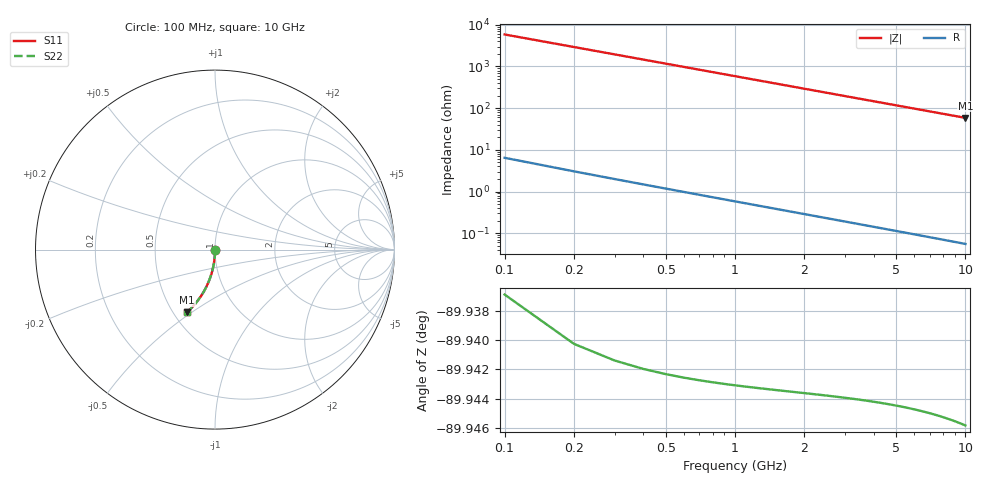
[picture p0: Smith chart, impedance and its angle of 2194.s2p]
# Hz S RI R 50.00
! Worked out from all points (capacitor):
!   100 points, 100 MHz to 10 GHz, reference 50 ohm
!   read as one part in shunt: C = 272 fF near 100 MHz
!   lowest |Z| = 58.6 ohm at 10 GHz (marker M1)
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1e8  8.79e-05 -0.00413  0.9999 -0.0044  0.9999 -0.0044  8.79e-05 -0.00413
2e8  2.98e-05 -0.00827  0.9998 -0.00881  0.9998 -0.00881  2.98e-05 -0.00827
3e8  -6.49e-05 -0.0124  0.9997 -0.0132  0.9997 -0.0132  -6.49e-05 -0.0124
4e8  -0.000196 -0.0165  0.9996 -0.0176  0.9996 -0.0176  -0.000196 -0.0165
5e8  -0.000364 -0.0207  0.9994 -0.022  0.9994 -0.022  -0.000364 -0.0207
6e8  -0.000568 -0.0248  0.9992 -0.0264  0.9992 -0.0264  -0.000568 -0.0248
7e8  -0.000808 -0.0289  0.999 -0.0308  0.999 -0.0308  -0.000808 -0.0289
8e8  -0.00108 -0.033  0.9987 -0.0352  0.9987 -0.0352  -0.00108 -0.033
9e8  -0.0014 -0.0372  0.9984 -0.0396  0.9984 -0.0396  -0.0014 -0.0372
1.1e9  -0.00213 -0.0454  0.9976 -0.0483  0.9976 -0.0483  -0.00213 -0.0454
1.4e9  -0.0035 -0.0577  0.9963 -0.0615  0.9963 -0.0615  -0.0035 -0.0577
1.8e9  -0.00583 -0.074  0.9939 -0.0788  0.9939 -0.0788  -0.00583 -0.074
2.1e9  -0.00794 -0.0861  0.9918 -0.0918  0.9918 -0.0918  -0.00794 -0.0861
2.5e9  -0.0112 -0.1022  0.9885 -0.1089  0.9885 -0.1089  -0.0112 -0.1022
2.9e9  -0.0151 -0.1181  0.9846 -0.1259  0.9846 -0.1259  -0.0151 -0.1181
3.4e9  -0.0207 -0.1377  0.9791 -0.1468  0.9791 -0.1468  -0.0207 -0.1377
4.2e9  -0.0312 -0.1682  0.9685 -0.1795  0.9685 -0.1795  -0.0312 -0.1682
5.1e9  -0.0454 -0.2012  0.9542 -0.215  0.9542 -0.215  -0.0454 -0.2012
5.9e9  -0.0599 -0.2292  0.9397 -0.2452  0.9397 -0.2452  -0.0599 -0.2292
6.7e9  -0.076 -0.2558  0.9236 -0.2739  0.9236 -0.2739  -0.076 -0.2558
8.4e9  -0.1147 -0.3071  0.8848 -0.3298  0.8848 -0.3298  -0.1147 -0.3071
1e10  -0.1554 -0.3485  0.844 -0.3756  0.844 -0.3756  -0.1554 -0.3485
